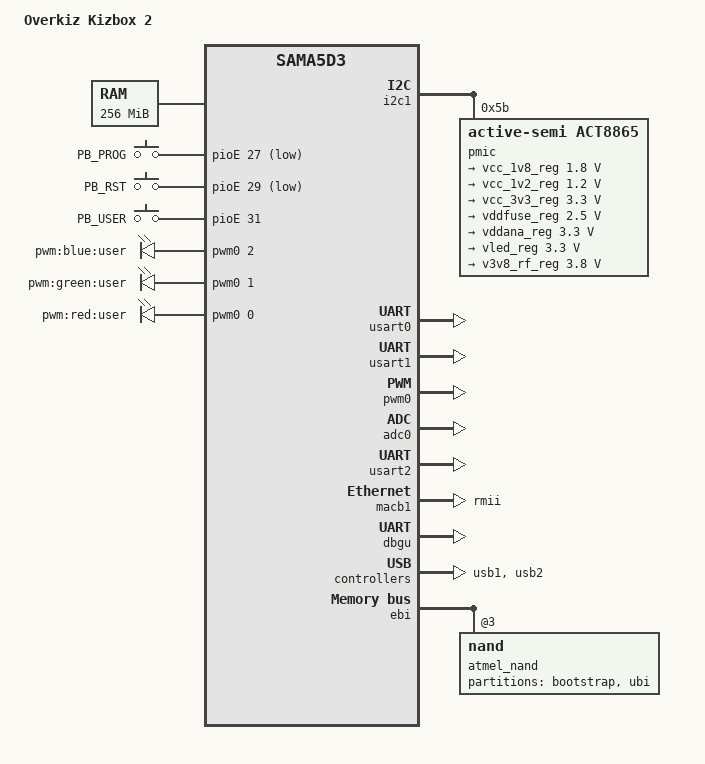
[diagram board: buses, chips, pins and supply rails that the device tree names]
/*
 * at91-kizbox2.dts - Device Tree file for Overkiz Kizbox 2 board
 *
 * Copyright (C) 2014 Gaël PORTAY <g.portay@overkiz.com>
 *
 * Licensed under GPLv2 or later.
 */
/dts-v1/;
#include "sama5d31.dtsi"
#include <dt-bindings/pwm/pwm.h>

/ {
	model = "Overkiz Kizbox 2";
	compatible = "overkiz,kizbox2", "atmel,sama5d31", "atmel,sama5d3", "atmel,sama5";

	chosen {
		bootargs = "ubi.mtd=ubi";
		stdout-path = &dbgu;
	};

	memory {
		reg = <0x20000000 0x10000000>;
	};

	clocks {
		slow_xtal {
			clock-frequency = <32768>;
		};

		main_xtal {
			clock-frequency = <12000000>;
		};
	};

	ahb {
		apb {
			i2c1: i2c@f0018000 {
				status = "okay";

				pmic: act8865@5b {
					compatible = "active-semi,act8865";
					reg = <0x5b>;
					status = "okay";

					regulators {
						vcc_1v8_reg: DCDC_REG1 {
							regulator-name = "VCC_1V8";
							regulator-min-microvolt = <1800000>;
							regulator-max-microvolt = <1800000>;
							regulator-always-on;
						};

						vcc_1v2_reg: DCDC_REG2 {
							regulator-name = "VCC_1V2";
							regulator-min-microvolt = <1200000>;
							regulator-max-microvolt = <1200000>;
							regulator-always-on;
						};

						vcc_3v3_reg: DCDC_REG3 {
							regulator-name = "VCC_3V3";
							regulator-min-microvolt = <3300000>;
							regulator-max-microvolt = <3300000>;
							regulator-always-on;
						};

						vddfuse_reg: LDO_REG1 {
							regulator-name = "FUSE_2V5";
							regulator-min-microvolt = <2500000>;
							regulator-max-microvolt = <2500000>;
						};

						vddana_reg: LDO_REG2 {
							regulator-name = "VDDANA";
							regulator-min-microvolt = <3300000>;
							regulator-max-microvolt = <3300000>;
							regulator-always-on;
						};

						vled_reg: LDO_REG3 {
							regulator-name = "VLED";
							regulator-min-microvolt = <3300000>;
							regulator-max-microvolt = <3300000>;
							regulator-always-on;
						};

						v3v8_rf_reg: LDO_REG4 {
							regulator-name = "V3V8_RF";
							regulator-min-microvolt = <3800000>;
							regulator-max-microvolt = <3800000>;
							regulator-always-on;
						};
					};
				};
			};

			tcb0: timer@f0010000 {
				timer@0 {
					compatible = "atmel,tcb-timer";
					reg = <0>;
				};

				timer@1 {
					compatible = "atmel,tcb-timer";
					reg = <1>;
				};
			};

			usart0: serial@f001c000 {
				status = "okay";
			};

			usart1: serial@f0020000 {
				status = "okay";
			};

			pwm0: pwm@f002c000 {
				pinctrl-names = "default";
				pinctrl-0 = <&pinctrl_pwm0_pwmh0_1
					     &pinctrl_pwm0_pwmh1_1
					     &pinctrl_pwm0_pwmh2_0>;
				status = "okay";
			};

			adc0: adc@f8018000 {
				atmel,adc-vref = <3333>;
				status = "okay";
			};

			usart2: serial@f8020000 {
				status = "okay";
			};

			macb1: ethernet@f802c000 {
				phy-mode = "rmii";
				status = "okay";
			};

			dbgu: serial@ffffee00 {
				status = "okay";
			};

			watchdog@fffffe40 {
				status = "okay";
			};
		};

		usb1: ohci@600000 {
			status = "okay";
		};

		usb2: ehci@700000 {
			status = "okay";
		};

		ebi: ebi@10000000 {
			pinctrl-0 = <&pinctrl_ebi_nand_addr>;
			pinctrl-names = "default";
			status = "okay";

			nand_controller: nand-controller {
				status = "okay";

				nand@3 {
					reg = <0x3 0x0 0x2>;
					atmel,rb = <0>;
					nand-bus-width = <8>;
					nand-ecc-mode = "hw";
					nand-ecc-strength = <4>;
					nand-ecc-step-size = <512>;
					nand-on-flash-bbt;
					label = "atmel_nand";

					partitions {
						compatible = "fixed-partitions";
						#address-cells = <1>;
						#size-cells = <1>;

						bootstrap@0 {
							label = "bootstrap";
							reg = <0x0 0x20000>;
						};

						ubi@20000 {
							label = "ubi";
							reg = <0x20000 0x7fe0000>;
						};
					};
				};
			};
		};
	};

	gpio_keys {
		compatible = "gpio-keys";
		#address-cells = <1>;
		#size-cells = <0>;

		prog {
			label = "PB_PROG";
			gpios = <&pioE 27 GPIO_ACTIVE_LOW>;
			linux,code = <0x102>;
			wakeup-source;
		};

		reset {
			label = "PB_RST";
			gpios = <&pioE 29 GPIO_ACTIVE_LOW>;
			linux,code = <0x100>;
			wakeup-source;
		};

		user {
			label = "PB_USER";
			gpios = <&pioE 31 GPIO_ACTIVE_HIGH>;
			linux,code = <0x101>;
			wakeup-source;
		};
	};

	pwm_leds {
		compatible = "pwm-leds";

		blue {
			label = "pwm:blue:user";
			pwms = <&pwm0 2 10000000 0>;
			max-brightness = <255>;
			linux,default-trigger = "default-on";
		};

		green {
			label = "pwm:green:user";
			pwms = <&pwm0 1 10000000 0>;
			max-brightness = <255>;
			linux,default-trigger = "default-on";
		};

		red {
			label = "pwm:red:user";
			pwms = <&pwm0 0 10000000 0>;
			max-brightness = <255>;
			linux,default-trigger = "default-on";
		};
	};
};
